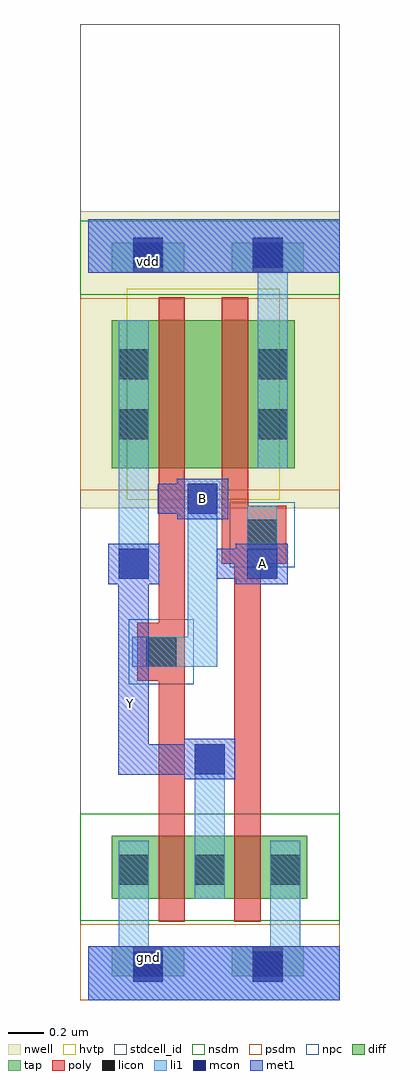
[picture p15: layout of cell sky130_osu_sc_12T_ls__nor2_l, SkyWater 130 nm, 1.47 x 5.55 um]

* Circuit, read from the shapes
.subckt sky130_osu_sc_12T_ls__nor2_l A B Y gnd vdd
XM1 Y B gnd gnd sky130_fd_pr__nfet_01v8 w=0.36 l=0.15
XM2 gnd A Y gnd sky130_fd_pr__nfet_01v8 w=0.36 l=0.15
XM3 n1 B Y vdd sky130_fd_pr__pfet_01v8_hvt w=0.84 l=0.15
XM4 vdd A n1 vdd sky130_fd_pr__pfet_01v8_hvt w=0.84 l=0.15
.ends

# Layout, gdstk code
import gdstk
lib = gdstk.Library(unit=1e-6, precision=1e-09)
def R(c, l, rs):  # rectangles x0, y0, x1, y1
    for r in rs: c.add(gdstk.rectangle(r[:2], r[2:], *l))
def A(c, l, x, y, w, h, nx, ny, dx, dy):  # array of equal rectangles
    R(c, l, [(x+i*dx, y+j*dy, x+i*dx+w, y+j*dy+h) for i in range(nx) for j in range(ny)])
nwell = (64, 20)
diff = (65, 20)
tap = (65, 44)
poly = (66, 20)
licon = (66, 44)
li1 = (67, 20)
mcon = (67, 44)
met1 = (68, 20)
hvtp = (78, 44)
stdcell_id = (81, 4)
nsdm = (93, 44)
psdm = (94, 20)
npc = (95, 20)

sky130_osu_sc_12t_ls__no = lib.new_cell('sky130_osu_sc_12T_ls__nor2_l')
R(sky130_osu_sc_12t_ls__no, nwell, [(-0.045,2.795,1.43,4.485)])
R(sky130_osu_sc_12t_ls__no, diff, [(0.135,0.575,1.245,0.935), (0.135,3.025,1.175,3.865)])
R(sky130_osu_sc_12t_ls__no, tap, [(0.135,0.135,0.545,0.305), (0.815,0.135,1.225,0.305), (0.135,4.135,0.545,4.305), (0.815,4.135,1.225,4.305)])
R(sky130_osu_sc_12t_ls__no, poly, [(0.4,0.445,0.55,1.815), (0.83,0.445,0.98,2.48), (0.28,1.815,0.55,2.145), (0.4,2.145,0.55,3.995), (0.76,2.48,1.125,2.81), (0.76,2.81,0.91,3.995)])
A(sky130_osu_sc_12t_ls__no, licon, 0.175, 0.655, 0.17, 0.17, 3, 1, 0.43, 0)
R(sky130_osu_sc_12t_ls__no, licon, [(0.255,0.135,0.425,0.305), (0.935,0.135,1.105,0.305), (0.33,1.895,0.5,2.065), (0.905,2.56,1.075,2.73), (0.175,3.19,0.345,3.36), (0.965,3.19,1.135,3.36), (0.175,3.53,0.345,3.7), (0.965,3.53,1.135,3.7), (0.255,4.135,0.425,4.305), (0.935,4.135,1.105,4.305)])
R(sky130_osu_sc_12t_ls__no, li1, [(0,0,1.43,0.305), (0.175,0.305,0.345,0.905), (1.035,0.305,1.205,0.905), (0.605,0.575,0.775,1.455), (0.25,1.895,0.735,2.065), (0.565,2.065,0.735,2.935), (0.175,2.395,0.345,3.865), (0.905,2.395,1.075,2.81), (0.965,3.025,1.135,4.135), (0,4.135,1.43,4.44)])
R(sky130_osu_sc_12t_ls__no, mcon, [(0.255,0.105,0.425,0.275), (0.935,0.105,1.105,0.275), (0.605,1.285,0.775,1.455), (0.175,2.395,0.345,2.565), (0.905,2.395,1.075,2.565), (0.565,2.765,0.735,2.935), (0.255,4.165,0.425,4.335), (0.935,4.165,1.105,4.335)])
R(sky130_osu_sc_12t_ls__no, met1, [(0,0,1.43,0.305), (0.545,1.255,0.835,1.28), (0.17,1.28,0.835,1.455), (0.17,1.455,0.345,2.365), (0.545,1.455,0.835,1.485), (0.115,2.365,0.405,2.595), (0.84,2.365,1.135,2.395), (0.73,2.395,1.135,2.565), (0.84,2.565,1.135,2.595), (0.505,2.735,0.795,2.765), (0.395,2.765,0.795,2.935), (0.505,2.935,0.795,2.965), (0,4.135,1.43,4.44)])
R(sky130_osu_sc_12t_ls__no, hvtp, [(0.22,2.845,1.09,4.045)])
R(sky130_osu_sc_12t_ls__no, stdcell_id, [(-0.045,0,1.43,5.55)])
R(sky130_osu_sc_12t_ls__no, nsdm, [(-0.045,0.45,1.43,1.06), (-0.045,4.01,1.43,4.43)])
R(sky130_osu_sc_12t_ls__no, psdm, [(-0.045,0,1.43,0.43), (-0.045,2.9,1.43,3.99)])
R(sky130_osu_sc_12t_ls__no, npc, [(0.23,1.795,0.6,2.165), (0.805,2.46,1.175,2.83)])
sky130_osu_sc_12t_ls__no.add(gdstk.Label('gnd', (0.34,0.24), layer=68, texttype=16))
sky130_osu_sc_12t_ls__no.add(gdstk.Label('vdd', (0.34,4.2), layer=68, texttype=16))
sky130_osu_sc_12t_ls__no.add(gdstk.Label('B', (0.65,2.85), layer=68, texttype=5))
sky130_osu_sc_12t_ls__no.add(gdstk.Label('Y', (0.24,1.685), layer=68, texttype=5))
sky130_osu_sc_12t_ls__no.add(gdstk.Label('A', (0.99,2.48), layer=68, texttype=5))

lib.write_gds('sky130_osu_sc_12T_ls__nor2_l.gds')
